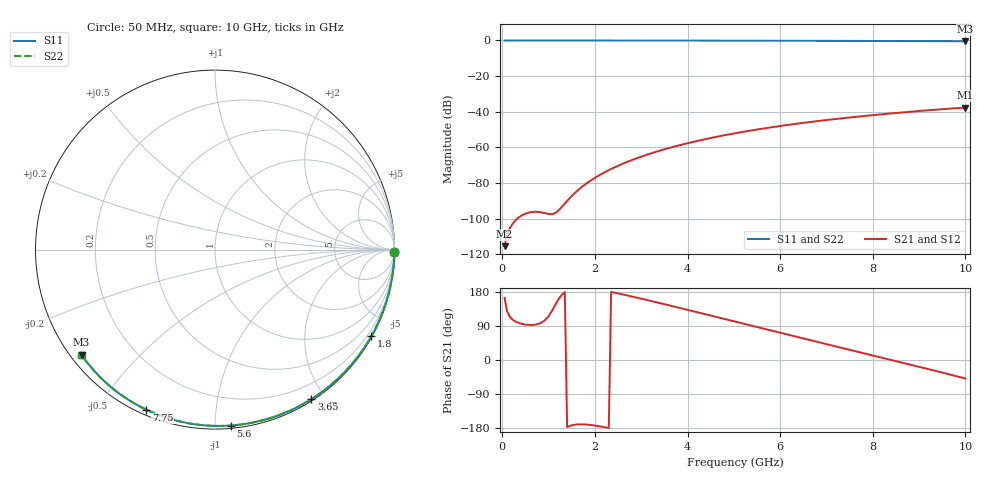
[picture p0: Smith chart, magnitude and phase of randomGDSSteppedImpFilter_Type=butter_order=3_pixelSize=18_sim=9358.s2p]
! freq	dB(S11)	phase(S11)	dB(S12)	phase(S12)
!  dB(S21)	phase(S21)	dB(S22)	phase(S22)
!S-par simulation data
#  GHz  S  DB  R 50
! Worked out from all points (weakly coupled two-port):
!   200 points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, 50 MHz to 10 GHz, reference 50 ohm
!   highest |S21| = -37.63 dB at 10 GHz (marker M1); lowest = -115.4 dB at 50 MHz (marker M2)
!   lowest |S11| = -0.5 dB at 10 GHz (marker M3), VSWR 36.67, Z = 1.53 - j17.3 ohm
!   |S11| at or under -10 dB: nowhere
!   |S22| runs from -0.5 to 0.0 dB; largest |S21 - S12| = 0
!   S11 on the Smith chart (normalised r, x): 50 MHz: open; 1.8 GHz: 0.03, -3.88; 3.65 GHz: 0.02, -1.84; 5.6 GHz: 0.02, -1.09; 7.75 GHz: 0.02, -0.66; 10 GHz: 0.03, -0.35
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0.05  -0.00 -0.8  -115.39 164.2  -115.39 164.2  -0.00 -0.8
0.45  -0.01 -7.3  -97.73 94.6  -97.73 94.6  -0.01 -7.3
0.9  -0.02 -14.6  -96.74 103.0  -96.74 103.0  -0.02 -14.6
1.75  -0.04 -28.1  -81.51 -169.9  -81.51 -169.9  -0.04 -28.1
1.8  -0.04 -28.9  -80.53 -170.2  -80.53 -170.2  -0.04 -28.9
1.85  -0.04 -29.7  -79.61 -170.7  -79.61 -170.7  -0.04 -29.7
2.05  -0.04 -32.8  -76.26 -173.8  -76.26 -173.8  -0.04 -32.8
2.25  -0.05 -35.9  -73.38 -178.1  -73.38 -178.1  -0.05 -35.9
2.55  -0.05 -40.6  -69.70 174.4  -69.70 174.4  -0.05 -40.6
2.95  -0.06 -46.7  -65.62 163.4  -65.62 163.4  -0.06 -46.7
3.4  -0.07 -53.5  -61.81 150.3  -61.81 150.3  -0.07 -53.5
3.65  -0.08 -57.2  -59.97 142.9  -59.97 142.9  -0.08 -57.2
4.3  -0.09 -66.7  -55.83 123.3  -55.83 123.3  -0.09 -66.7
5.05  -0.12 -77.3  -51.94 100.6  -51.94 100.6  -0.12 -77.3
5.6  -0.14 -84.9  -49.54 84.0  -49.54 84.0  -0.14 -84.9
6.15  -0.16 -92.3  -47.43 67.4  -47.43 67.4  -0.16 -92.3
6.7  -0.19 -99.6  -45.56 50.8  -45.56 50.8  -0.19 -99.6
7.2  -0.22 -106.1  -44.04 35.9  -44.04 35.9  -0.22 -106.1
7.75  -0.26 -113.2  -42.53 19.5  -42.53 19.5  -0.26 -113.2
8.35  -0.31 -120.8  -41.04 1.6  -41.04 1.6  -0.31 -120.8
9.15  -0.38 -130.9  -39.26 -22.4  -39.26 -22.4  -0.38 -130.9
10  -0.47 -141.8  -37.63 -48.9  -37.63 -48.9  -0.47 -141.8
